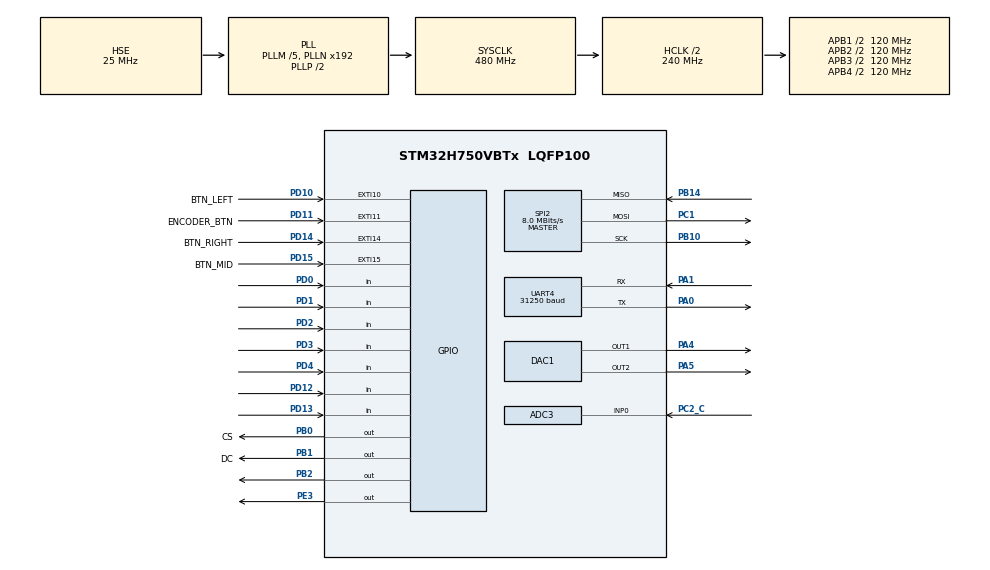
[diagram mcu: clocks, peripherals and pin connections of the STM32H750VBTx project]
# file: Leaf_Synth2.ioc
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ADC3.Channel-1\#ChannelRegularConversion=ADC_CHANNEL_0
ADC3.ClockPrescalerADC3=ADC_CLOCK_ASYNC_DIV128
ADC3.ContinuousConvMode=DISABLE
ADC3.ExternalTrigConv=ADC_SOFTWARE_START
ADC3.NbrOfConversionFlag=1
ADC3.OffsetNumber-1\#ChannelRegularConversion=ADC_OFFSET_NONE
ADC3.OffsetSignedSaturation-1\#ChannelRegularConversion=DISABLE
ADC3.Rank-1\#ChannelRegularConversion=1
ADC3.Resolution=ADC_RESOLUTION_16B
ADC3.SamplingTime-1\#ChannelRegularConversion=ADC_SAMPLETIME_1CYCLE_5
CORTEX_M7.default_mode_Activation=1
DAC1.DAC1_OutputBuffer-DAC_OUT1=DAC_OUTPUTBUFFER_DISABLE
DAC1.DAC2_OutputBuffer-DAC_OUT2=DAC_OUTPUTBUFFER_DISABLE
DAC1.DAC_Channel-DAC_OUT1=DAC_CHANNEL_1
DAC1.DAC_Channel-DAC_OUT2=DAC_CHANNEL_2
DAC1.DAC_Trigger-DAC_OUT1=DAC_TRIGGER_T6_TRGO
DAC1.DAC_Trigger-DAC_OUT2=DAC_TRIGGER_T6_TRGO
Dma.DAC1_CH1.0.Direction=DMA_MEMORY_TO_PERIPH
Dma.DAC1_CH1.0.EventEnable=DISABLE
Dma.DAC1_CH1.0.FIFOMode=DMA_FIFOMODE_DISABLE
Dma.DAC1_CH1.0.Instance=DMA1_Stream0
Dma.DAC1_CH1.0.MemDataAlignment=DMA_MDATAALIGN_HALFWORD
Dma.DAC1_CH1.0.MemInc=DMA_MINC_ENABLE
Dma.DAC1_CH1.0.Mode=DMA_CIRCULAR
Dma.DAC1_CH1.0.PeriphDataAlignment=DMA_PDATAALIGN_HALFWORD
Dma.DAC1_CH1.0.PeriphInc=DMA_PINC_DISABLE
Dma.DAC1_CH1.0.Polarity=HAL_DMAMUX_REQ_GEN_RISING
Dma.DAC1_CH1.0.Priority=DMA_PRIORITY_MEDIUM
Dma.DAC1_CH1.0.RequestNumber=1
Dma.DAC1_CH1.0.SignalID=NONE
Dma.DAC1_CH1.0.SyncEnable=DISABLE
Dma.DAC1_CH1.0.SyncPolarity=HAL_DMAMUX_SYNC_NO_EVENT
Dma.DAC1_CH1.0.SyncRequestNumber=1
Dma.DAC1_CH1.0.SyncSignalID=NONE
Dma.DAC1_CH2.1.Direction=DMA_MEMORY_TO_PERIPH
Dma.DAC1_CH2.1.EventEnable=DISABLE
Dma.DAC1_CH2.1.FIFOMode=DMA_FIFOMODE_DISABLE
Dma.DAC1_CH2.1.Instance=DMA1_Stream1
Dma.DAC1_CH2.1.MemDataAlignment=DMA_MDATAALIGN_HALFWORD
Dma.DAC1_CH2.1.MemInc=DMA_MINC_ENABLE
Dma.DAC1_CH2.1.Mode=DMA_CIRCULAR
Dma.DAC1_CH2.1.PeriphDataAlignment=DMA_PDATAALIGN_HALFWORD
Dma.DAC1_CH2.1.PeriphInc=DMA_PINC_DISABLE
Dma.DAC1_CH2.1.Polarity=HAL_DMAMUX_REQ_GEN_RISING
Dma.DAC1_CH2.1.Priority=DMA_PRIORITY_MEDIUM
Dma.DAC1_CH2.1.RequestNumber=1
Dma.DAC1_CH2.1.SignalID=NONE
Dma.DAC1_CH2.1.SyncEnable=DISABLE
Dma.DAC1_CH2.1.SyncPolarity=HAL_DMAMUX_SYNC_NO_EVENT
Dma.DAC1_CH2.1.SyncRequestNumber=1
Dma.DAC1_CH2.1.SyncSignalID=NONE
Dma.Request0=DAC1_CH1
Dma.Request1=DAC1_CH2
Mcu.Family=STM32H7
Mcu.Name=STM32H750VBTx
Mcu.Package=LQFP100
NVIC.ADC3_IRQn=true\:0\:0\:false\:false\:true\:true\:true\:true
NVIC.DMA1_Stream0_IRQn=true\:4\:0\:true\:false\:true\:false\:true\:true
NVIC.DMA1_Stream1_IRQn=true\:4\:0\:true\:false\:true\:false\:true\:true
NVIC.EXTI15_10_IRQn=true\:0\:0\:false\:false\:true\:true\:true\:true
NVIC.PriorityGroup=NVIC_PRIORITYGROUP_4
NVIC.TIM7_IRQn=true\:0\:0\:false\:false\:true\:true\:true\:true
NVIC.UART4_IRQn=true\:0\:0\:false\:false\:true\:true\:true\:true
PA0.Mode=Asynchronous
PA0.Signal=UART4_TX
PA1.Mode=Asynchronous
PA1.Signal=UART4_RX
PA4.Signal=COMP_DAC11_group
PA5.Signal=COMP_DAC12_group
PB0.GPIO_Label=CS
PB0.Signal=GPIO_Output
PB1.GPIO_Label=DC 
PB1.Signal=GPIO_Output
PB10.GPIO_Speed=GPIO_SPEED_FREQ_VERY_HIGH
PB10.Mode=Full_Duplex_Master
PB10.Signal=SPI2_SCK
PB14.GPIO_Speed=GPIO_SPEED_FREQ_VERY_HIGH
PB14.Mode=Full_Duplex_Master
PB14.Signal=SPI2_MISO
PB2.Signal=GPIO_Output
PC1.GPIO_Speed=GPIO_SPEED_FREQ_VERY_HIGH
PC1.Mode=Full_Duplex_Master
PC1.Signal=SPI2_MOSI
PC14-OSC32_IN\ (OSC32_IN).Mode=LSE-External-Oscillator
PC14-OSC32_IN\ (OSC32_IN).Signal=RCC_OSC32_IN
PC15-OSC32_OUT\ (OSC32_OUT).Mode=LSE-External-Oscillator
PC15-OSC32_OUT\ (OSC32_OUT).Signal=RCC_OSC32_OUT
PC2_C.Mode=IN0-Single-Ended
PC2_C.Signal=ADC3_INP0
PD0.Signal=GPIO_Input
PD1.Signal=GPIO_Input
PD10.GPIO_Label=BTN_LEFT
PD10.GPIO_ModeDefaultEXTI=GPIO_MODE_IT_FALLING
PD10.GPIO_PuPd=GPIO_PULLUP
PD10.Signal=GPXTI10
PD11.GPIO_Label=ENCODER_BTN
PD11.GPIO_ModeDefaultEXTI=GPIO_MODE_IT_FALLING
PD11.GPIO_PuPd=GPIO_PULLUP
PD11.Signal=GPXTI11
PD12.Signal=GPIO_Input
PD13.Signal=GPIO_Input
PD14.GPIO_Label=BTN_RIGHT
PD14.GPIO_ModeDefaultEXTI=GPIO_MODE_IT_FALLING
PD14.GPIO_PuPd=GPIO_PULLUP
PD14.Signal=GPXTI14
PD15.GPIO_Label=BTN_MID
PD15.GPIO_ModeDefaultEXTI=GPIO_MODE_IT_FALLING
PD15.GPIO_PuPd=GPIO_PULLUP
PD15.Signal=GPXTI15
PD2.Signal=GPIO_Input
PD3.Signal=GPIO_Input
PD4.Signal=GPIO_Input
PE3.Signal=GPIO_Output
PH0-OSC_IN\ (PH0).Mode=HSE-External-Oscillator
PH0-OSC_IN\ (PH0).Signal=RCC_OSC_IN
PH1-OSC_OUT\ (PH1).Mode=HSE-External-Oscillator
PH1-OSC_OUT\ (PH1).Signal=RCC_OSC_OUT
ProjectManager.HeapSize=0x200
ProjectManager.StackSize=0x400
ProjectManager.TargetToolchain=STM32CubeIDE
RCC.ADCCLockSelection=RCC_ADCCLKSOURCE_CLKP
RCC.ADCFreq_Value=64000000
RCC.APB1Freq_Value=120000000
RCC.APB2Freq_Value=120000000
RCC.APB3Freq_Value=120000000
RCC.APB4Freq_Value=120000000
RCC.CortexFreq_Value=480000000
RCC.D1PPRE=RCC_APB3_DIV2
RCC.D2PPRE1=RCC_APB1_DIV2
RCC.D2PPRE2=RCC_APB2_DIV2
RCC.D3PPRE=RCC_APB4_DIV2
RCC.DIVM1=5
RCC.DIVN1=192
RCC.HCLKFreq_Value=240000000
RCC.HPRE=RCC_HCLK_DIV2
RCC.PLL2FRACN=0
RCC.PLL3FRACN=0
RCC.PLLFRACN=0
RCC.PLLSourceVirtual=RCC_PLLSOURCE_HSE
RCC.SPI123CLockSelection=RCC_SPI123CLKSOURCE_CLKP
RCC.SYSCLKFreq_VALUE=480000000
RCC.SYSCLKSource=RCC_SYSCLKSOURCE_PLLCLK
RCC.USBFreq_Value=480000000
SH.COMP_DAC11_group.0=DAC1_OUT1,DAC_OUT1
SH.COMP_DAC12_group.0=DAC1_OUT2,DAC_OUT2
SPI2.BaudRatePrescaler=SPI_BAUDRATEPRESCALER_8
SPI2.CalculateBaudRate=8.0 MBits/s
SPI2.DataSize=SPI_DATASIZE_8BIT
SPI2.Direction=SPI_DIRECTION_2LINES
SPI2.Mode=SPI_MODE_MASTER
SPI2.VirtualType=VM_MASTER
TIM6.Period=50-1
TIM6.Prescaler=100-1
TIM6.TIM_MasterOutputTrigger=TIM_TRGO_UPDATE
TIM7.Period=5208
TIM7.Prescaler=240 - 1
UART4.BaudRate=31250
VP_TIM6_VS_ClockSourceINT.Mode=Enable_Timer
VP_TIM7_VS_ClockSourceINT.Mode=Enable_Timer
board=custom

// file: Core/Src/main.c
/* USER CODE BEGIN Header */
/**
  ******************************************************************************
  * @file           : main.c
  * @brief          : 主程序，使用STM32CUBEIDE编写
  ******************************************************************************
  * @attention
  *
  * Copyright (c) 2024 STMicroelectronics.
  * All rights reserved.
  *
  * This software is licensed under terms that can be found in the LICENSE file
  * in the root directory of this software component.
  * If no LICENSE file comes with this software, it is provided AS-IS.
  *
  ******************************************************************************
  */
/* USER CODE END Header */
#include "main.h"

/* USER CODE BEGIN Includes */
//#include <math.h>
/* USER CODE END Includes */

/* USER CODE BEGIN PD */
#define BUFFER_SIZE 64
#define SAMPLE_RATE 48000
#define VOICE_COUNT 6
/* USER CODE END PD */

ADC_HandleTypeDef hadc3;

DAC_HandleTypeDef hdac1;
DMA_HandleTypeDef hdma_dac1_ch1;
DMA_HandleTypeDef hdma_dac1_ch2;

SPI_HandleTypeDef hspi2;

TIM_HandleTypeDef htim6;
TIM_HandleTypeDef htim7;

UART_HandleTypeDef huart4;

/* USER CODE BEGIN PV */
uint16_t master_buffer_l[BUFFER_SIZE] = {0};	//主输出Buffer，通过DMA输出
uint16_t master_buffer_r[BUFFER_SIZE] = {0};

uint8_t UART4_rxBuffer[3] = {0};	//UART接收MIDI的Buffer
float noteToHz[128];				//MIDI音符与频率对照表，程序运行后自动生成

int envSpeed = 0;		//包络的档位
volatile uint8_t trackPlaying = 0; //表示当前播放的内置曲目, 0表示停止播放
volatile uint8_t chorusOn = 0;
uint64_t mixer = 0;			//振荡器输出混合的暂存变量
uint16_t ADC_Value;
float LFO1_Rate = 5;

volatile uint32_t trackTime = 0; //自动播放功能的时间轴
volatile uint32_t trackIndex = 0;

SineOsc9x Sine9x_0;		//复音实例化，这里犯了个错误，应该采用数组的形式存储，方便在别的文件里处理
SineOsc9x Sine9x_1;
SineOsc9x Sine9x_2;
SineOsc9x Sine9x_3;
SineOsc9x Sine9x_4;
SineOsc9x Sine9x_5;
SineOsc LFO1;
stDelay delay1;
Envelope env[VOICE_COUNT]; //包络实例化
volatile voice voicePool[VOICE_COUNT]; //复音池实例化

volatile uint8_t B3_OscVol[9]={8,0,0,0,0,0,0,0,0};
uint8_t currentPreset = 0;
volatile uint8_t oscPresets[9][9] = { //预设
		{8,0,0,0,0,0,0,0,0},{7,7,7,0,0,0,0,0,0},{0,0,7,0,3,0,2,0,0},
		{7,3,4,2,1,1,1,0,0},{3,0,5,0,3,0,2,0,5},{7,7,0,7,0,0,5,0,0},
		{0,7,6,0,6,3,0,0,3},{4,3,3,3,3,0,1,2,2},{7,8,0,7,0,0,3,0,0}};
//下方两个为内置曲目和波表，仅仅是文本替换，不是库
#include "tracksData.h"
#include "sineTables.h"

/* USER CODE END PV */

void SystemClock_Config(void);
void PeriphCommonClock_Config(void);
static void MPU_Config(void);
static void MX_GPIO_Init(void);
static void MX_DMA_Init(void);
static void MX_TIM6_Init(void);
static void MX_UART4_Init(void);
static void MX_SPI2_Init(void);
static void MX_DAC1_Init(void);
static void MX_TIM7_Init(void);
static void MX_ADC3_Init(void);
/* USER CODE BEGIN PFP */
void HAL_DAC_ConvCpltCallbackCh1(DAC_HandleTypeDef *hdac1);
void HAL_DAC_ConvHalfCpltCallbackCh1(DAC_HandleTypeDef *hdac1);
void HAL_UART_RxCpltCallback(UART_HandleTypeDef *huart);
void HAL_TIM_PeriodElapsedCallback(TIM_HandleTypeDef *htim);

void updateB3Vol();
void updateB3Freq();
void audio_frame_upper();
void audio_frame_lower();
void DSP_tick();

/* USER CODE END PFP */

/* USER CODE BEGIN 0 */
void DSP_tick(int i){					//主DSP循环，每采样调用一次，将采样写入Master Buffer
			SineOsc9x_tick(&Sine9x_0);  //计算每复音输出
			SineOsc9x_tick(&Sine9x_1);
			SineOsc9x_tick(&Sine9x_2);
			SineOsc9x_tick(&Sine9x_3);
			SineOsc9x_tick(&Sine9x_4);
			SineOsc9x_tick(&Sine9x_5);

			SineOsc_setFreq(&LFO1, LFO1_Rate);	//更新LFO速率并计算
			SineOsc_tick(&LFO1);

			Envelope_tick(env, voicePool);

			mixer = 0;
			mixer += ((Sine9x_0.output * env[0].value) >> 16); //开始计算每复音包络
			mixer += ((Sine9x_1.output * env[1].value) >> 16);
			mixer += ((Sine9x_2.output * env[2].value) >> 16);
			mixer += ((Sine9x_3.output * env[3].value) >> 16);
			mixer += ((Sine9x_4.output * env[4].value) >> 16);
			mixer += ((Sine9x_5.output * env[5].value) >> 16);

			mixer = (mixer * ADC_Value ) >> 16;	  //总音量控制
			mixer = (mixer * Sine9x_0.vol_scale) >> 16; //根据开启的振荡器数量平衡音量
			if(chorusOn){ //Chorus
				mixer = ((mixer * (uint64_t)(0xC003 + (LFO1.output <<2))) >> 16); //Tremolo
				stDelay_timeMod(&delay1, 1000*((double)LFO1.output/4095.0f - 0.5));	//LFO调制振荡器以实现Chorus
				stDelay_tick(&delay1, (uint16_t)(mixer>> 16), (uint16_t)(mixer>> 16));

				uint32_t chorus_l = (3 * delay1.out_l + (uint16_t)(mixer >> 16))>>2;
				uint32_t chorus_r = (3 * delay1.out_r + (uint16_t)(mixer >> 16))>>2;

				master_buffer_l[i] = chorus_l;
				master_buffer_r[i] = chorus_r;
			}else{
				master_buffer_l[i] = (uint16_t)(mixer >> 16);
				master_buffer_r[i] = (uint16_t)(mixer >> 16);
			}
}
void HAL_UART_RxCpltCallback(UART_HandleTypeDef *huart){	//处理MIDI输入信息
	uint8_t midiBuffer[3];			//暂存本次MIDI输入，注意这里复制一份Buffer是必要的，
	midiBuffer[0] =UART4_rxBuffer[0];//目的是防止中断完成前传入了新的MIDI数据导致被覆盖
	midiBuffer[1] =UART4_rxBuffer[1];
	midiBuffer[2] =UART4_rxBuffer[2];
	HAL_UART_Receive_IT (&huart4, UART4_rxBuffer, 3);
	if ((midiBuffer[0] & 0xF0) == 0x90){
		if (midiBuffer[2] != 0){  						// 非零速度表示Note On
			voicePool_noteOn(midiBuffer[1], voicePool); //分配新音符并返回编
	    }else{  										// 0力度也可以表示Note Off
	        voicePool_noteOff(midiBuffer[1], voicePool);
	        }
	    }
	    else if ((midiBuffer[0] & 0xF0) == 0x80){	// 检查是否为Note Off消息
	    	voicePool_noteOff(midiBuffer[1], voicePool);
	    }else if((midiBuffer[0] & 0xF0) == 0xB0){ 	// 0xB0是Control Change的状态字节
	        midi_cc(midiBuffer[1], midiBuffer[2]);  // 调用处理函数，第一个字节是CC编号，第二个字节是值
	        updateB3Vol();
	    }
	updateB3Freq();
}

void HAL_TIM_PeriodElapsedCallback(TIM_HandleTypeDef *htim){	//用定时器播放MIDI文件，应该能用，
	//if(htim == &htim7){										//但是发现放在主循环里效果也不差
		//trackTime++;
		//if(trackTime > 1 ) HAL_GPIO_WritePin(GPIOE,GPIO_PIN_3,GPIO_PIN_SET);
		//midi_playFile_tick(track1);
	//}
}

//下方是DAC缓冲区传输的半传输和全传输中断，分别调用函数计算采样填充到缓冲区
//函数功能是一样的，只不过填充缓冲区的位置不同所以分两个函数处理
void HAL_DAC_ConvHalfCpltCallbackCh1(DAC_HandleTypeDef *hdac1){
	audio_frame_upper();
}
void HAL_DAC_ConvCpltCallbackCh1(DAC_HandleTypeDef *hdac1){
	audio_frame_lower();
}

void HAL_ADC_ConvCpltCallback(ADC_HandleTypeDef* hadc){
    ADC_Value = 0xFFFF - HAL_ADC_GetValue(&hadc3);	//我电位器反着放的所以需要反转一下
}

void HAL_GPIO_EXTI_Callback(uint16_t GPIO_Pin) //处理按键和编码器输入
{
  if(GPIO_Pin == ENCODER_BTN_Pin) {
    trackPlaying++;
    if(trackPlaying >=3) trackPlaying = 0;
    voicePool_panic();
    trackTime = 0;
    trackIndex = 0;
  }else if(GPIO_Pin == BTN_RIGHT_Pin) {
	currentPreset++;
	if(currentPreset > 8){
		currentPreset -= 8;
	}
	for(int i = 0; i < 9; i++){
		B3_OscVol[i] = oscPresets[currentPreset][i];
	}
	updateB3Vol();
  }else if(GPIO_Pin == BTN_LEFT_Pin) {
	  envSpeed = !envSpeed;
	  Envelope_setSpeed(env,envSpeed);
  } else if(GPIO_Pin == BTN_MID_Pin) {
	  chorusOn = !chorusOn;
  }
}

void audio_frame_upper(){
	for (int i = 0; i < 0.5 * BUFFER_SIZE; i++)
	  {
		DSP_tick(i);
	  }
}
void audio_frame_lower(){
	for (int i = 0.5 * BUFFER_SIZE; i < BUFFER_SIZE; i++)
	  {
		DSP_tick(i);
	  }
}

void updateB3Vol(){
	SineOsc9x_setVol(&Sine9x_0, B3_OscVol);
	SineOsc9x_setVol(&Sine9x_1, B3_OscVol);
	SineOsc9x_setVol(&Sine9x_2, B3_OscVol);
	SineOsc9x_setVol(&Sine9x_3, B3_OscVol);
	SineOsc9x_setVol(&Sine9x_4, B3_OscVol);
	SineOsc9x_setVol(&Sine9x_5, B3_OscVol);
}

void updateB3Freq(){
	SineOsc9x_setFreq(&Sine9x_0, noteToHz[voicePool[0].note]);
	SineOsc9x_setFreq(&Sine9x_1, noteToHz[voicePool[1].note]);
	SineOsc9x_setFreq(&Sine9x_2, noteToHz[voicePool[2].note]);
	SineOsc9x_setFreq(&Sine9x_3, noteToHz[voicePool[3].note]);
	SineOsc9x_setFreq(&Sine9x_4, noteToHz[voicePool[4].note]);
	SineOsc9x_setFreq(&Sine9x_5, noteToHz[voicePool[5].note]);
}
/* USER CODE END 0 */

int main(void)
{
  /* USER CODE BEGIN 1 */
	SineOsc9x_init(&Sine9x_0, SineLut);
	SineOsc9x_init(&Sine9x_1, SineLut);
	SineOsc9x_init(&Sine9x_2, SineLut);
	SineOsc9x_init(&Sine9x_3, SineLut);
	SineOsc9x_init(&Sine9x_4, SineLut);
	SineOsc9x_init(&Sine9x_5, SineLut);

	SineOsc_init(&LFO1, SineLut);
	Envelope_init(env);
	stDelay_init(&delay1);

	for (int note = 0; note < 128; note++) {	//计算midi和频率对应表
		noteToHz[note] = 440.0f * powf(2.0f, (note - 69) / 12.0f);
	}

  /* USER CODE END 1 */

  /* MPU Configuration--------------------------------------------------------*/
  MPU_Config();

  /* MCU Configuration--------------------------------------------------------*/

  /* Reset of all peripherals, Initializes the Flash interface and the Systick. */
  HAL_Init();

  /* Configure the system clock */
  SystemClock_Config();

/* Configure the peripherals common clocks */
  PeriphCommonClock_Config();

  /* Initialize all configured peripherals */
  MX_GPIO_Init();
  MX_DMA_Init();
  MX_TIM6_Init();
  MX_UART4_Init();
  MX_SPI2_Init();
  MX_DAC1_Init();
  MX_TIM7_Init();
  MX_ADC3_Init();
  /* USER CODE BEGIN 2 */

  HAL_UART_Receive_IT (&huart4, UART4_rxBuffer, 3);
  HAL_TIM_Base_Start_IT(&htim6);

  HAL_DAC_Start_DMA(&hdac1, DAC_CHANNEL_1, (uint32_t*) master_buffer_l, BUFFER_SIZE, DAC_ALIGN_12B_R);
  HAL_DAC_Start_DMA(&hdac1, DAC_CHANNEL_2, (uint32_t*) master_buffer_r, BUFFER_SIZE, DAC_ALIGN_12B_R);

  HAL_ADC_Start_IT(&hadc3);
  //midi_playFile(track1);
  /* USER CODE END 2 */

  /* Infinite loop */
  /* USER CODE BEGIN WHILE */
  while (1)
  {
	  if(trackPlaying == 0){

	  }else if (trackPlaying == 1){
		  midi_playFile_tick(track1);
		  trackTime++;
		  updateB3Freq();
		  HAL_Delay(4);						//这个Delay影响播放速度，由于只能用毫秒所以为了精确，定时器方案会更好一些
	  }else if (trackPlaying == 2){
		  midi_playFile_tick(track2);
		  trackTime++;
		  updateB3Freq();
		  HAL_Delay(3);
	  }
	   HAL_ADC_Start_IT(&hadc3); 					//这个ADC采样率比较低，对于旋钮足够了

    /* USER CODE END WHILE */

  }
}

void SystemClock_Config(void)
{
  RCC_OscInitTypeDef RCC_OscInitStruct = {0};
  RCC_ClkInitTypeDef RCC_ClkInitStruct = {0};

  /** Supply configuration update enable
  */
  HAL_PWREx_ConfigSupply(PWR_LDO_SUPPLY);

  /** Configure the main internal regulator output voltage
  */
  __HAL_PWR_VOLTAGESCALING_CONFIG(PWR_REGULATOR_VOLTAGE_SCALE1);

  while(!__HAL_PWR_GET_FLAG(PWR_FLAG_VOSRDY)) {}

  __HAL_RCC_SYSCFG_CLK_ENABLE();
  __HAL_PWR_VOLTAGESCALING_CONFIG(PWR_REGULATOR_VOLTAGE_SCALE0);

  while(!__HAL_PWR_GET_FLAG(PWR_FLAG_VOSRDY)) {}

  /** Initializes the RCC Oscillators according to the specified parameters
  * in the RCC_OscInitTypeDef structure.
  */
  RCC_OscInitStruct.OscillatorType = RCC_OSCILLATORTYPE_HSI|RCC_OSCILLATORTYPE_HSE;
  RCC_OscInitStruct.HSEState = RCC_HSE_ON;
  RCC_OscInitStruct.HSIState = RCC_HSI_DIV1;
  RCC_OscInitStruct.HSICalibrationValue = RCC_HSICALIBRATION_DEFAULT;
  RCC_OscInitStruct.PLL.PLLState = RCC_PLL_ON;
  RCC_OscInitStruct.PLL.PLLSource = RCC_PLLSOURCE_HSE;
  RCC_OscInitStruct.PLL.PLLM = 5;
  RCC_OscInitStruct.PLL.PLLN = 192;
  RCC_OscInitStruct.PLL.PLLP = 2;
  RCC_OscInitStruct.PLL.PLLQ = 2;
  RCC_OscInitStruct.PLL.PLLR = 2;
  RCC_OscInitStruct.PLL.PLLRGE = RCC_PLL1VCIRANGE_2;
  RCC_OscInitStruct.PLL.PLLVCOSEL = RCC_PLL1VCOWIDE;
  RCC_OscInitStruct.PLL.PLLFRACN = 0;
  if (HAL_RCC_OscConfig(&RCC_OscInitStruct) != HAL_OK)
  {
    Error_Handler();
  }

  /** Initializes the CPU, AHB and APB buses clocks
  */
  RCC_ClkInitStruct.ClockType = RCC_CLOCKTYPE_HCLK|RCC_CLOCKTYPE_SYSCLK
                              |RCC_CLOCKTYPE_PCLK1|RCC_CLOCKTYPE_PCLK2
                              |RCC_CLOCKTYPE_D3PCLK1|RCC_CLOCKTYPE_D1PCLK1;
  RCC_ClkInitStruct.SYSCLKSource = RCC_SYSCLKSOURCE_PLLCLK;
  RCC_ClkInitStruct.SYSCLKDivider = RCC_SYSCLK_DIV1;
  RCC_ClkInitStruct.AHBCLKDivider = RCC_HCLK_DIV2;
  RCC_ClkInitStruct.APB3CLKDivider = RCC_APB3_DIV2;
  RCC_ClkInitStruct.APB1CLKDivider = RCC_APB1_DIV2;
  RCC_ClkInitStruct.APB2CLKDivider = RCC_APB2_DIV2;
  RCC_ClkInitStruct.APB4CLKDivider = RCC_APB4_DIV2;

  if (HAL_RCC_ClockConfig(&RCC_ClkInitStruct, FLASH_LATENCY_4) != HAL_OK)
  {
    Error_Handler();
  }
}

void PeriphCommonClock_Config(void)
{
  RCC_PeriphCLKInitTypeDef PeriphClkInitStruct = {0};

  /** Initializes the peripherals clock
  */
  PeriphClkInitStruct.PeriphClockSelection = RCC_PERIPHCLK_CKPER;
  PeriphClkInitStruct.CkperClockSelection = RCC_CLKPSOURCE_HSI;
  if (HAL_RCCEx_PeriphCLKConfig(&PeriphClkInitStruct) != HAL_OK)
  {
    Error_Handler();
  }
}

static void MX_ADC3_Init(void)
{

  ADC_ChannelConfTypeDef sConfig = {0};

  /** Common config
  */
  hadc3.Instance = ADC3;
  hadc3.Init.Resolution = ADC_RESOLUTION_16B;
  hadc3.Init.ScanConvMode = ADC_SCAN_DISABLE;
  hadc3.Init.EOCSelection = ADC_EOC_SINGLE_CONV;
  hadc3.Init.LowPowerAutoWait = DISABLE;
  hadc3.Init.ContinuousConvMode = DISABLE;
  hadc3.Init.NbrOfConversion = 1;
  hadc3.Init.DiscontinuousConvMode = DISABLE;
  hadc3.Init.ExternalTrigConv = ADC_SOFTWARE_START;
  hadc3.Init.ExternalTrigConvEdge = ADC_EXTERNALTRIGCONVEDGE_NONE;
  hadc3.Init.ConversionDataManagement = ADC_CONVERSIONDATA_DR;
  hadc3.Init.Overrun = ADC_OVR_DATA_PRESERVED;
  hadc3.Init.LeftBitShift = ADC_LEFTBITSHIFT_NONE;
  hadc3.Init.OversamplingMode = DISABLE;
  if (HAL_ADC_Init(&hadc3) != HAL_OK)
  {
    Error_Handler();
  }

  /** Configure Regular Channel
  */
  sConfig.Channel = ADC_CHANNEL_0;
  sConfig.Rank = ADC_REGULAR_RANK_1;
  sConfig.SamplingTime = ADC_SAMPLETIME_1CYCLE_5;
  sConfig.SingleDiff = ADC_SINGLE_ENDED;
  sConfig.OffsetNumber = ADC_OFFSET_NONE;
  sConfig.Offset = 0;
  sConfig.OffsetSignedSaturation = DISABLE;
  if (HAL_ADC_ConfigChannel(&hadc3, &sConfig) != HAL_OK)
  {
    Error_Handler();
  }

}

static void MX_DAC1_Init(void)
{

  /* USER CODE BEGIN DAC1_Init 0 */
	void HAL_DAC_ConvCpltCallbackCh1(DAC_HandleTypeDef *hdac1);
	void HAL_DAC_ConvHalfCpltCallbackCh1(DAC_HandleTypeDef *hdac1);
  /* USER CODE END DAC1_Init 0 */

  DAC_ChannelConfTypeDef sConfig = {0};

  /** DAC Initialization
  */
  hdac1.Instance = DAC1;
  if (HAL_DAC_Init(&hdac1) != HAL_OK)
  {
    Error_Handler();
  }

  /** DAC channel OUT1 config
  */
  sConfig.DAC_SampleAndHold = DAC_SAMPLEANDHOLD_DISABLE;
  sConfig.DAC_Trigger = DAC_TRIGGER_T6_TRGO;
  sConfig.DAC_OutputBuffer = DAC_OUTPUTBUFFER_DISABLE;
  sConfig.DAC_ConnectOnChipPeripheral = DAC_CHIPCONNECT_DISABLE;
  sConfig.DAC_UserTrimming = DAC_TRIMMING_FACTORY;
  if (HAL_DAC_ConfigChannel(&hdac1, &sConfig, DAC_CHANNEL_1) != HAL_OK)
  {
    Error_Handler();
  }

  /** DAC channel OUT2 config
  */
  if (HAL_DAC_ConfigChannel(&hdac1, &sConfig, DAC_CHANNEL_2) != HAL_OK)
  {
    Error_Handler();
  }

}

static void MX_SPI2_Init(void)
{

  /* SPI2 parameter configuration*/
  hspi2.Instance = SPI2;
  hspi2.Init.Mode = SPI_MODE_MASTER;
  hspi2.Init.Direction = SPI_DIRECTION_2LINES;
  hspi2.Init.DataSize = SPI_DATASIZE_8BIT;
  hspi2.Init.CLKPolarity = SPI_POLARITY_LOW;
  hspi2.Init.CLKPhase = SPI_PHASE_1EDGE;
  hspi2.Init.NSS = SPI_NSS_SOFT;
  hspi2.Init.BaudRatePrescaler = SPI_BAUDRATEPRESCALER_8;
  hspi2.Init.FirstBit = SPI_FIRSTBIT_MSB;
  hspi2.Init.TIMode = SPI_TIMODE_DISABLE;
  hspi2.Init.CRCCalculation = SPI_CRCCALCULATION_DISABLE;
  hspi2.Init.CRCPolynomial = 0x0;
  hspi2.Init.NSSPMode = SPI_NSS_PULSE_ENABLE;
  hspi2.Init.NSSPolarity = SPI_NSS_POLARITY_LOW;
  hspi2.Init.FifoThreshold = SPI_FIFO_THRESHOLD_01DATA;
  hspi2.Init.TxCRCInitializationPattern = SPI_CRC_INITIALIZATION_ALL_ZERO_PATTERN;
  hspi2.Init.RxCRCInitializationPattern = SPI_CRC_INITIALIZATION_ALL_ZERO_PATTERN;
  hspi2.Init.MasterSSIdleness = SPI_MASTER_SS_IDLENESS_00CYCLE;
  hspi2.Init.MasterInterDataIdleness = SPI_MASTER_INTERDATA_IDLENESS_00CYCLE;
  hspi2.Init.MasterReceiverAutoSusp = SPI_MASTER_RX_AUTOSUSP_DISABLE;
  hspi2.Init.MasterKeepIOState = SPI_MASTER_KEEP_IO_STATE_DISABLE;
  hspi2.Init.IOSwap = SPI_IO_SWAP_DISABLE;
  if (HAL_SPI_Init(&hspi2) != HAL_OK)
  {
    Error_Handler();
  }

}

static void MX_TIM6_Init(void)
{

  TIM_MasterConfigTypeDef sMasterConfig = {0};

  htim6.Instance = TIM6;
  htim6.Init.Prescaler = 100-1;
  htim6.Init.CounterMode = TIM_COUNTERMODE_UP;
  htim6.Init.Period = 50-1;
  htim6.Init.AutoReloadPreload = TIM_AUTORELOAD_PRELOAD_DISABLE;
  if (HAL_TIM_Base_Init(&htim6) != HAL_OK)
  {
    Error_Handler();
  }
  sMasterConfig.MasterOutputTrigger = TIM_TRGO_UPDATE;
  sMasterConfig.MasterSlaveMode = TIM_MASTERSLAVEMODE_DISABLE;
  if (HAL_TIMEx_MasterConfigSynchronization(&htim6, &sMasterConfig) != HAL_OK)
  {
    Error_Handler();
  }

}

static void MX_TIM7_Init(void)
{

  TIM_MasterConfigTypeDef sMasterConfig = {0};

  htim7.Instance = TIM7;
  htim7.Init.Prescaler = 240 - 1;
  htim7.Init.CounterMode = TIM_COUNTERMODE_UP;
  htim7.Init.Period = 5208;
  htim7.Init.AutoReloadPreload = TIM_AUTORELOAD_PRELOAD_DISABLE;
  if (HAL_TIM_Base_Init(&htim7) != HAL_OK)
  {
    Error_Handler();
  }
  sMasterConfig.MasterOutputTrigger = TIM_TRGO_RESET;
  sMasterConfig.MasterSlaveMode = TIM_MASTERSLAVEMODE_DISABLE;
  if (HAL_TIMEx_MasterConfigSynchronization(&htim7, &sMasterConfig) != HAL_OK)
  {
    Error_Handler();
  }

}

static void MX_UART4_Init(void)
{

  huart4.Instance = UART4;
  huart4.Init.BaudRate = 31250;
  huart4.Init.WordLength = UART_WORDLENGTH_8B;
  huart4.Init.StopBits = UART_STOPBITS_1;
  huart4.Init.Parity = UART_PARITY_NONE;
  huart4.Init.Mode = UART_MODE_TX_RX;
  huart4.Init.HwFlowCtl = UART_HWCONTROL_NONE;
  huart4.Init.OverSampling = UART_OVERSAMPLING_16;
  huart4.Init.OneBitSampling = UART_ONE_BIT_SAMPLE_DISABLE;
  huart4.Init.ClockPrescaler = UART_PRESCALER_DIV1;
  huart4.AdvancedInit.AdvFeatureInit = UART_ADVFEATURE_NO_INIT;
  if (HAL_UART_Init(&huart4) != HAL_OK)
  {
    Error_Handler();
  }
  if (HAL_UARTEx_SetTxFifoThreshold(&huart4, UART_TXFIFO_THRESHOLD_1_8) != HAL_OK)
  {
    Error_Handler();
  }
  if (HAL_UARTEx_SetRxFifoThreshold(&huart4, UART_RXFIFO_THRESHOLD_1_8) != HAL_OK)
  {
    Error_Handler();
  }
  if (HAL_UARTEx_DisableFifoMode(&huart4) != HAL_OK)
  {
    Error_Handler();
  }

}

static void MX_DMA_Init(void)
{

  /* DMA controller clock enable */
  __HAL_RCC_DMA1_CLK_ENABLE();

  /* DMA interrupt init */
  /* DMA1_Stream0_IRQn interrupt configuration */
  HAL_NVIC_SetPriority(DMA1_Stream0_IRQn, 4, 0);
  HAL_NVIC_EnableIRQ(DMA1_Stream0_IRQn);
  /* DMA1_Stream1_IRQn interrupt configuration */
  HAL_NVIC_SetPriority(DMA1_Stream1_IRQn, 4, 0);
  HAL_NVIC_EnableIRQ(DMA1_Stream1_IRQn);

}

static void MX_GPIO_Init(void)
{
  GPIO_InitTypeDef GPIO_InitStruct = {0};

  /* GPIO Ports Clock Enable */
  __HAL_RCC_GPIOE_CLK_ENABLE();
  __HAL_RCC_GPIOC_CLK_ENABLE();
  __HAL_RCC_GPIOH_CLK_ENABLE();
  __HAL_RCC_GPIOA_CLK_ENABLE();
  __HAL_RCC_GPIOB_CLK_ENABLE();
  __HAL_RCC_GPIOD_CLK_ENABLE();

  /*Configure GPIO pin Output Level */
  HAL_GPIO_WritePin(GPIOE, GPIO_PIN_3, GPIO_PIN_RESET);

  /*Configure GPIO pin Output Level */
  HAL_GPIO_WritePin(GPIOB, CS_Pin|DC_Pin|GPIO_PIN_2, GPIO_PIN_RESET);

  /*Configure GPIO pin : PE3 */
  GPIO_InitStruct.Pin = GPIO_PIN_3;
  GPIO_InitStruct.Mode = GPIO_MODE_OUTPUT_PP;
  GPIO_InitStruct.Pull = GPIO_NOPULL;
  GPIO_InitStruct.Speed = GPIO_SPEED_FREQ_LOW;
  HAL_GPIO_Init(GPIOE, &GPIO_InitStruct);

  /*Configure GPIO pins : CS_Pin DC_Pin PB2 */
  GPIO_InitStruct.Pin = CS_Pin|DC_Pin|GPIO_PIN_2;
  GPIO_InitStruct.Mode = GPIO_MODE_OUTPUT_PP;
  GPIO_InitStruct.Pull = GPIO_NOPULL;
  GPIO_InitStruct.Speed = GPIO_SPEED_FREQ_LOW;
  HAL_GPIO_Init(GPIOB, &GPIO_InitStruct);

  /*Configure GPIO pins : BTN_LEFT_Pin ENCODER_BTN_Pin BTN_RIGHT_Pin BTN_MID_Pin */
  GPIO_InitStruct.Pin = BTN_LEFT_Pin|ENCODER_BTN_Pin|BTN_RIGHT_Pin|BTN_MID_Pin;
  GPIO_InitStruct.Mode = GPIO_MODE_IT_FALLING;
  GPIO_InitStruct.Pull = GPIO_PULLUP;
  HAL_GPIO_Init(GPIOD, &GPIO_InitStruct);

  /*Configure GPIO pins : PD12 PD13 PD0 PD1
                           PD2 PD3 PD4 */
  GPIO_InitStruct.Pin = GPIO_PIN_12|GPIO_PIN_13|GPIO_PIN_0|GPIO_PIN_1
                          |GPIO_PIN_2|GPIO_PIN_3|GPIO_PIN_4;
  GPIO_InitStruct.Mode = GPIO_MODE_INPUT;
  GPIO_InitStruct.Pull = GPIO_NOPULL;
  HAL_GPIO_Init(GPIOD, &GPIO_InitStruct);

  /* EXTI interrupt init*/
  HAL_NVIC_SetPriority(EXTI15_10_IRQn, 0, 0);
  HAL_NVIC_EnableIRQ(EXTI15_10_IRQn);

}

 /* MPU Configuration */

void MPU_Config(void)
{
  MPU_Region_InitTypeDef MPU_InitStruct = {0};

  /* Disables the MPU */
  HAL_MPU_Disable();

  /** Initializes and configures the Region and the memory to be protected
  */
  MPU_InitStruct.Enable = MPU_REGION_ENABLE;
  MPU_InitStruct.Number = MPU_REGION_NUMBER0;
  MPU_InitStruct.BaseAddress = 0x0;
  MPU_InitStruct.Size = MPU_REGION_SIZE_4GB;
  MPU_InitStruct.SubRegionDisable = 0x87;
  MPU_InitStruct.TypeExtField = MPU_TEX_LEVEL0;
  MPU_InitStruct.AccessPermission = MPU_REGION_NO_ACCESS;
  MPU_InitStruct.DisableExec = MPU_INSTRUCTION_ACCESS_DISABLE;
  MPU_InitStruct.IsShareable = MPU_ACCESS_SHAREABLE;
  MPU_InitStruct.IsCacheable = MPU_ACCESS_NOT_CACHEABLE;
  MPU_InitStruct.IsBufferable = MPU_ACCESS_NOT_BUFFERABLE;

  HAL_MPU_ConfigRegion(&MPU_InitStruct);
  /* Enables the MPU */
  HAL_MPU_Enable(MPU_PRIVILEGED_DEFAULT);

}

void Error_Handler(void)
{
  __disable_irq();
  while (1)
  {
  }
}
